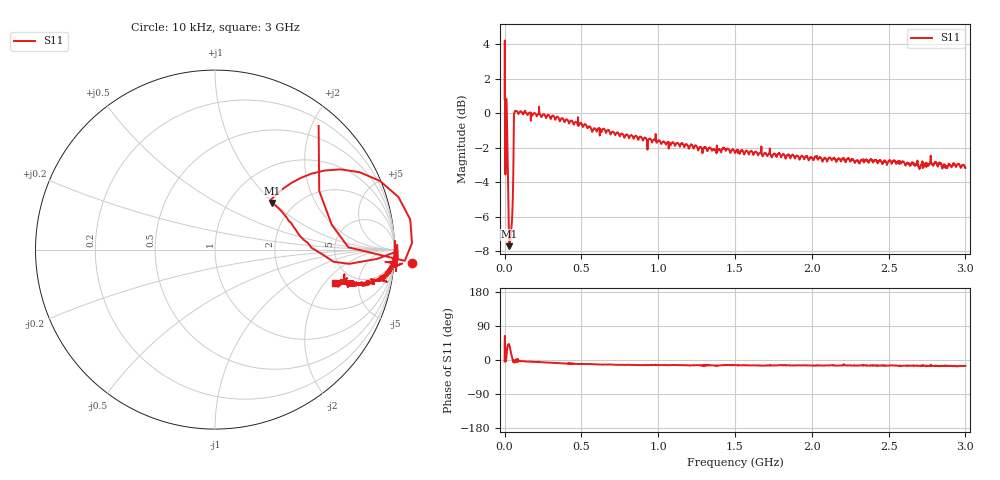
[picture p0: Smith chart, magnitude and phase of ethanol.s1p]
# HZ S RI R 50
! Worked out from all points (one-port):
!   2020 points, 10 kHz to 3 GHz, reference 50 ohm
!   lowest |S11| = -7.7 dB at 31.21 MHz (marker M1), VSWR 2.40, Z = 78.2 + j49 ohm
!   |S11| at or under -10 dB: nowhere
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10000  1.098 -0.0767
5953516  0.6506 0.1382
1.635467e7  0.8056 0.4312
1.784055e7  0.7005 0.4469
1.932643e7  0.6103 0.4405
2.378406e7  0.4279 0.3726
2.675582e7  0.3567 0.3211
3.121346e7  0.3194 0.2605
3.715698e7  0.3827 0.1988
4.310049e7  0.438 0.1265
5.350164e7  0.5672 -0.00782
6.39028e7  1.005 -0.0333
7.133219e7  1.015 -0.00725
7.578983e7  1.015 0.0269
2.392365e8  0.9707 -0.1025
3.759374e8  0.9565 -0.1507
5.780169e8  0.8822 -0.1749
7.503789e8  0.8369 -0.1874
1.126306e9  0.7978 -0.1879
1.332843e9  0.7749 -0.1822
1.381877e9  0.7832 -0.1956
1.436855e9  0.7635 -0.1794
1.500748e9  0.7461 -0.1807
1.875189e9  0.7358 -0.1884
2.251117e9  0.7054 -0.1773
2.625558e9  0.6941 -0.1857
2.940565e9  0.6721 -0.1944
3e9  0.6706 -0.1849
